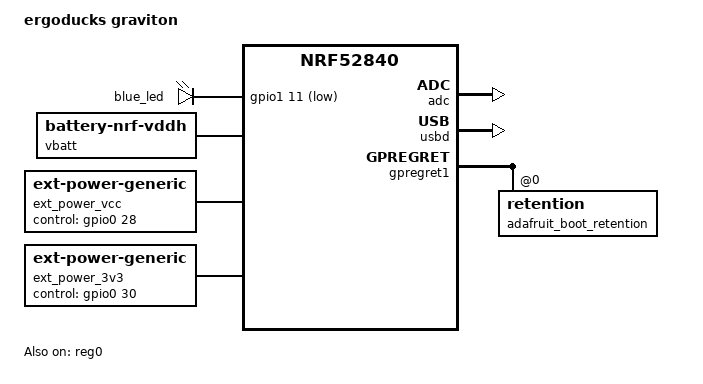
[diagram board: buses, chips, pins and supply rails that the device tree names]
/*
 * Copyright (c) 2021 The ZMK Contributors
 *
 * SPDX-License-Identifier: MIT
 */

/dts-v1/;
#include <nordic/nrf52840_qiaa.dtsi>
#include <common/nordic/nrf52840_uf2_boot_mode.dtsi>
#include <dt-bindings/zmk/matrix_transform.h>
#include "arduino_pro_micro_pins.dtsi"

/ {
    model = "ergoducks graviton";
    compatible = "ergoducks,graviton";

    chosen {
        zephyr,code-partition = &code_partition;
        zephyr,console = &cdc_acm_uart;
        zephyr,sram = &sram0;
        zephyr,flash = &flash0;
        zmk,battery = &vbatt;
        zephyr,boot-mode = &boot_retention;
        zmk,magic-boot-mode = &adafruit_boot_retention;
    };

    leds {
        compatible = "gpio-leds";
        blue_led: led_0 {
            gpios = <&gpio1 11 GPIO_ACTIVE_LOW>;
        };
    };

    vbatt: vbatt {
        compatible = "zmk,battery-nrf-vddh";
    };
    
    ext_power_vcc {
        compatible = "zmk,ext-power-generic";
        control-gpios = <&gpio0 28 GPIO_ACTIVE_HIGH>;
        init-delay-ms = <50>;
    };
    
    ext_power_3v3 {
        compatible = "zmk,ext-power-generic";
        control-gpios = <&gpio0 30 GPIO_ACTIVE_HIGH>;
        init-delay-ms = <50>;
    };

    magic_mapper {
        compatible = "zmk,bootmode-to-magic-mapper";
        status = "okay";

        #address-cells = <1>;
        #size-cells = <1>;

        boot_retention: retention@0 {
            compatible = "zephyr,retention";
            status = "okay";
            reg = <0x0 0x1>;
        };
    };
};

&reg0 {
    status = "okay";
};

&reg1 {
    regulator-initial-mode = <NRF5X_REG_MODE_DCDC>;
};

&adc {
    status = "okay";
};

&gpiote {
    status = "okay";
};

&gpio0 {
    status = "okay";
};

&gpio1 {
    status = "okay";
};

zephyr_udc0: &usbd {
    status = "okay";
};

&gpregret1 {
    adafruit_boot_retention: retention@0 {
        compatible = "zephyr,retention";
        status = "okay";
        reg = <0x0 0x1>;
    };
};

&flash0 {
    /*
     * For more information, see:
     * http://docs.zephyrproject.org/latest/devices/dts/flash_partitions.html
     */
    partitions {
        compatible = "fixed-partitions";
        #address-cells = <1>;
        #size-cells = <1>;

        sd_partition: partition@0 {
            reg = <0x00000000 0x00026000>;
        };
        code_partition: partition@26000 {
            reg = <0x00026000 0x000c6000>;
        };

        /*
         * The flash starting at 0x000ec000 and ending at
         * 0x000f3fff is reserved for use by the application.
         */

        /*
         * Storage partition will be used by FCB/LittleFS/NVS
         * if enabled.
         */
        storage_partition: partition@ec000 {
            reg = <0x000ec000 0x00008000>;
        };

        boot_partition: partition@f4000 {
            reg = <0x000f4000 0x0000c000>;
        };
    };
};
